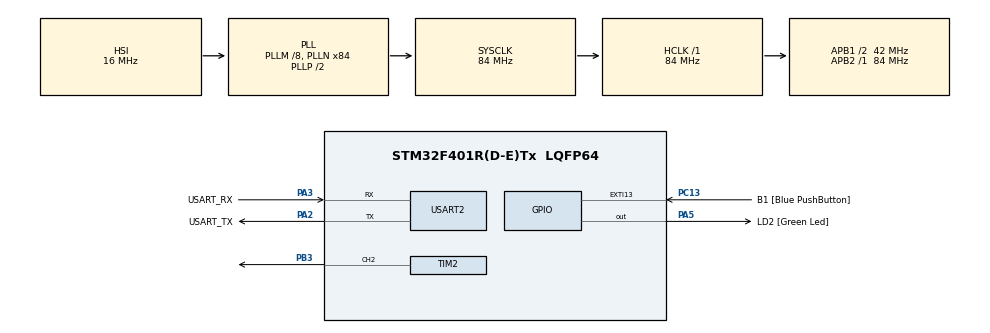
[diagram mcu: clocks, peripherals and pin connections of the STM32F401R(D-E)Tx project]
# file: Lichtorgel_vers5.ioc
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Dma.Request0=TIM2_CH2/CH4
Dma.TIM2_CH2/CH4.0.Direction=DMA_MEMORY_TO_PERIPH
Dma.TIM2_CH2/CH4.0.FIFOMode=DMA_FIFOMODE_DISABLE
Dma.TIM2_CH2/CH4.0.Instance=DMA1_Stream6
Dma.TIM2_CH2/CH4.0.MemDataAlignment=DMA_MDATAALIGN_WORD
Dma.TIM2_CH2/CH4.0.MemInc=DMA_MINC_ENABLE
Dma.TIM2_CH2/CH4.0.Mode=DMA_CIRCULAR
Dma.TIM2_CH2/CH4.0.PeriphDataAlignment=DMA_PDATAALIGN_WORD
Dma.TIM2_CH2/CH4.0.PeriphInc=DMA_PINC_DISABLE
Dma.TIM2_CH2/CH4.0.Priority=DMA_PRIORITY_LOW
Mcu.Family=STM32F4
Mcu.Name=STM32F401R(D-E)Tx
Mcu.Package=LQFP64
NVIC.DMA1_Stream6_IRQn=true\:0\:0\:false\:false\:true\:false\:true
NVIC.PriorityGroup=NVIC_PRIORITYGROUP_0
NVIC.TIM2_IRQn=true\:0\:0\:false\:false\:true\:true\:true
PA13.GPIO_Label=TMS
PA13.Mode=Serial_Wire
PA13.Signal=SYS_JTMS-SWDIO
PA14.GPIO_Label=TCK
PA14.Mode=Serial_Wire
PA14.Signal=SYS_JTCK-SWCLK
PA2.GPIO_Label=USART_TX
PA2.GPIO_Mode=GPIO_MODE_AF_PP
PA2.GPIO_PuPd=GPIO_NOPULL
PA2.GPIO_Speed=GPIO_SPEED_FREQ_LOW
PA2.Mode=Asynchronous
PA2.Signal=USART2_TX
PA3.GPIO_Label=USART_RX
PA3.GPIO_Mode=GPIO_MODE_AF_PP
PA3.GPIO_PuPd=GPIO_NOPULL
PA3.GPIO_Speed=GPIO_SPEED_FREQ_LOW
PA3.Mode=Asynchronous
PA3.Signal=USART2_RX
PA5.GPIO_Label=LD2 [Green Led]
PA5.GPIO_Mode=GPIO_MODE_OUTPUT_PP
PA5.GPIO_PuPd=GPIO_NOPULL
PA5.GPIO_Speed=GPIO_SPEED_FREQ_LOW
PA5.Signal=GPIO_Output
PB3.Signal=S_TIM2_CH2
PC13-ANTI_TAMP.GPIO_Label=B1 [Blue PushButton]
PC13-ANTI_TAMP.GPIO_ModeDefaultEXTI=GPIO_MODE_IT_FALLING
PC13-ANTI_TAMP.GPIO_PuPd=GPIO_NOPULL
PC13-ANTI_TAMP.Signal=GPXTI13
PC14-OSC32_IN.Mode=LSE-External-Oscillator
PC14-OSC32_IN.Signal=RCC_OSC32_IN
PC15-OSC32_OUT.Mode=LSE-External-Oscillator
PC15-OSC32_OUT.Signal=RCC_OSC32_OUT
PH0\ -\ OSC_IN.Mode=HSE-External-Clock-Source
PH0\ -\ OSC_IN.Signal=RCC_OSC_IN
PH1\ -\ OSC_OUT.Mode=HSE-External-Clock-Source
PH1\ -\ OSC_OUT.Signal=RCC_OSC_OUT
ProjectManager.HeapSize=0x200
ProjectManager.StackSize=0x400
ProjectManager.TargetToolchain=STM32CubeIDE
RCC.48MHZClocksFreq_Value=24000000
RCC.AHBFreq_Value=84000000
RCC.APB1CLKDivider=RCC_HCLK_DIV2
RCC.APB1Freq_Value=42000000
RCC.APB1TimFreq_Value=84000000
RCC.APB2Freq_Value=84000000
RCC.APB2TimFreq_Value=84000000
RCC.CortexFreq_Value=84000000
RCC.HCLKFreq_Value=84000000
RCC.HSE_VALUE=8000000
RCC.HSI_VALUE=16000000
RCC.PLLM=8
RCC.PLLN=84
RCC.PLLQ=7
RCC.SYSCLKFreq_VALUE=84000000
RCC.SYSCLKSource=RCC_SYSCLKSOURCE_PLLCLK
RCC.VCOOutputFreq_Value=168000000
SH.S_TIM2_CH2.0=TIM2_CH2,PWM Generation2 CH2
TIM2.AutoReloadPreload=TIM_AUTORELOAD_PRELOAD_ENABLE
TIM2.Channel-PWM\ Generation2\ CH2=TIM_CHANNEL_2
TIM2.OC2Preload_PWM=DISABLE
TIM2.Period=104
USART2.VirtualMode=VM_ASYNC
board=NUCLEO-F401RE

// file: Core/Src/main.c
/* USER CODE BEGIN Header */
/**
  ******************************************************************************
  * @file           : main.c
  * @brief          : Main program body
  ******************************************************************************
  * @attention
  *
  * <h2><center>&copy; Copyright (c) 2020 STMicroelectronics.
  * All rights reserved.</center></h2>
  *
  * This software component is licensed by ST under BSD 3-Clause license,
  * the "License"; You may not use this file except in compliance with the
  * License. You may obtain a copy of the License at:
  *                        opensource.org/licenses/BSD-3-Clause
  *
  ******************************************************************************
  */
/* USER CODE END Header */

#include "main.h"

/* USER CODE BEGIN Includes */
#include "string.h"

/* USER CODE END Includes */

TIM_HandleTypeDef htim2;
DMA_HandleTypeDef hdma_tim2_ch2_ch4;

UART_HandleTypeDef huart2;

void SystemClock_Config(void);
static void MX_GPIO_Init(void);
static void MX_DMA_Init(void);
static void MX_TIM2_Init(void);
static void MX_USART2_UART_Init(void);
/* USER CODE BEGIN PFP */
#define LED_CFG_USE_RGBW                0       /*!< Set to 1 to use RGBW leds.
                                                    Set to 0 to use WS2812B leds */

#define LED_CFG_LEDS_CNT                8       /*!< Number of leds in a strip row */

#if LED_CFG_USE_RGBW
#define LED_CFG_BYTES_PER_LED           4
#else /* LED_CFG_USE_RGBW */
#define LED_CFG_BYTES_PER_LED           3
#endif /* !LED_CFG_USE_RGBW */

#define LED_CFG_RAW_BYTES_PER_LED       (LED_CFG_BYTES_PER_LED * 8)

/* USER CODE END PFP */

/* USER CODE BEGIN 0 */

/*brief           Array of 4x (or 3x) number of leds (R, G, B[, W] colors)
 */
static uint8_t
leds_colors[LED_CFG_BYTES_PER_LED * LED_CFG_LEDS_CNT];

/**
 * \brief           Temporary array for dual LED with extracted PWM duty cycles
 *
 * We need LED_CFG_RAW_BYTES_PER_LED bytes for PWM setup to send all bits.
 * Before we can send data for first led, we have to send reset pulse, which must be 50us long.
 * PWM frequency is 800kHz, to achieve 50us, we need to send 40 pulses with 0 duty cycle = make array size MAX(2 * LED_CFG_RAW_BYTES_PER_LED, 40)
 */
static uint32_t tmp_led_data[2 * LED_CFG_RAW_BYTES_PER_LED];

static uint8_t          is_reset_pulse;     /*!< Status if we are sending reset pulse or led data */
static volatile uint8_t is_updating;        /*!< Is updating in progress? */
static uint32_t         current_led;        /*!< Current LED number we are sending */

uint8_t     led_update(uint8_t block);

#if LED_CFG_USE_RGBW
uint8_t     led_set_color(size_t index, uint8_t r, uint8_t g, uint8_t b, uint8_t w);
uint8_t     led_set_color_all(uint8_t r, uint8_t g, uint8_t b, uint8_t w);
uint8_t     led_set_color_rgbw(size_t index, uint32_t rgbw);
uint8_t     led_set_color_all_rgbw(uint32_t rgbw);
#else /* LED_CFG_USE_RGB */
uint8_t     led_set_color(size_t index, uint8_t r, uint8_t g, uint8_t b);
uint8_t     led_set_color_all(uint8_t r, uint8_t g, uint8_t b);
uint8_t     led_set_color_rgb(size_t index, uint32_t rgb);
uint8_t     led_set_color_all_rgb(uint32_t rgb);
#endif /* !LED_CFG_USE_RGBW */

uint8_t     led_is_update_finished(void);
uint8_t     led_start_reset_pulse(uint8_t num);
/* USER CODE END 0 */

int main(void)
{
  /* USER CODE BEGIN 1 */
	size_t i;
	volatile uint32_t timeout;
  /* USER CODE END 1 */

  /* MCU Configuration--------------------------------------------------------*/

  /* Reset of all peripherals, Initializes the Flash interface and the Systick. */
  HAL_Init();

  /* Configure the system clock */
  SystemClock_Config();

  /* Initialize all configured peripherals */
  MX_GPIO_Init();
  MX_DMA_Init();
  MX_TIM2_Init();
  MX_USART2_UART_Init();
  /* USER CODE BEGIN 2 */

  led_init();
  led_set_color_all(0x01, 0x00, 0x00, 0x00);
  led_update(1);

  /* USER CODE END 2 */

  /* Infinite loop */
  /* USER CODE BEGIN WHILE */
  while (1)
  {
	  for (i = 0; i < LED_CFG_LEDS_CNT; i++) {
		  led_set_color((i + 0) % LED_CFG_LEDS_CNT, 0x1F, 0, 0);
		  led_set_color((i + 1) % LED_CFG_LEDS_CNT, 0x1F, 0, 0);
	      led_set_color((i + 2) % LED_CFG_LEDS_CNT, 0, 0x1F, 0);
	      led_set_color((i + 3) % LED_CFG_LEDS_CNT, 0, 0x1F, 0);
	      led_set_color((i + 4) % LED_CFG_LEDS_CNT, 0, 0, 0x1F);
	      led_set_color((i + 5) % LED_CFG_LEDS_CNT, 0, 0, 0x1F);
	      led_set_color((i + 6) % LED_CFG_LEDS_CNT, 0, 0, 0);
	      led_set_color((i + 7) % LED_CFG_LEDS_CNT, 0, 0, 0);
	      led_update(1);
	      led_set_color_all(0, 0, 0, 0);

	      timeout = 0x7FFFF;
	      while (--timeout) {}
	  }

	//led_set_color_all(0, 0, 0, 0);  led_update(1);   timeout = 0x3FFFFF;  while (timeout--);
    /* USER CODE END WHILE */

  }
}

void SystemClock_Config(void)
{
  RCC_OscInitTypeDef RCC_OscInitStruct = {0};
  RCC_ClkInitTypeDef RCC_ClkInitStruct = {0};

  /** Configure the main internal regulator output voltage
  */
  __HAL_RCC_PWR_CLK_ENABLE();
  __HAL_PWR_VOLTAGESCALING_CONFIG(PWR_REGULATOR_VOLTAGE_SCALE2);
  /** Initializes the CPU, AHB and APB busses clocks
  */
  RCC_OscInitStruct.OscillatorType = RCC_OSCILLATORTYPE_HSI;
  RCC_OscInitStruct.HSIState = RCC_HSI_ON;
  RCC_OscInitStruct.HSICalibrationValue = RCC_HSICALIBRATION_DEFAULT;
  RCC_OscInitStruct.PLL.PLLState = RCC_PLL_ON;
  RCC_OscInitStruct.PLL.PLLSource = RCC_PLLSOURCE_HSI;
  RCC_OscInitStruct.PLL.PLLM = 8;
  RCC_OscInitStruct.PLL.PLLN = 84;
  RCC_OscInitStruct.PLL.PLLP = RCC_PLLP_DIV2;
  RCC_OscInitStruct.PLL.PLLQ = 7;
  if (HAL_RCC_OscConfig(&RCC_OscInitStruct) != HAL_OK)
  {
    Error_Handler();
  }
  /** Initializes the CPU, AHB and APB busses clocks
  */
  RCC_ClkInitStruct.ClockType = RCC_CLOCKTYPE_HCLK|RCC_CLOCKTYPE_SYSCLK
                              |RCC_CLOCKTYPE_PCLK1|RCC_CLOCKTYPE_PCLK2;
  RCC_ClkInitStruct.SYSCLKSource = RCC_SYSCLKSOURCE_PLLCLK;
  RCC_ClkInitStruct.AHBCLKDivider = RCC_SYSCLK_DIV1;
  RCC_ClkInitStruct.APB1CLKDivider = RCC_HCLK_DIV2;
  RCC_ClkInitStruct.APB2CLKDivider = RCC_HCLK_DIV1;

  if (HAL_RCC_ClockConfig(&RCC_ClkInitStruct, FLASH_LATENCY_2) != HAL_OK)
  {
    Error_Handler();
  }
}

static void MX_TIM2_Init(void)
{

  TIM_MasterConfigTypeDef sMasterConfig = {0};
  TIM_OC_InitTypeDef sConfigOC = {0};

  htim2.Instance = TIM2;
  htim2.Init.Prescaler = 0;
  htim2.Init.CounterMode = TIM_COUNTERMODE_UP;
  htim2.Init.Period = 104;
  htim2.Init.ClockDivision = TIM_CLOCKDIVISION_DIV1;
  htim2.Init.AutoReloadPreload = TIM_AUTORELOAD_PRELOAD_ENABLE;
  if (HAL_TIM_PWM_Init(&htim2) != HAL_OK)
  {
    Error_Handler();
  }
  sMasterConfig.MasterOutputTrigger = TIM_TRGO_RESET;
  sMasterConfig.MasterSlaveMode = TIM_MASTERSLAVEMODE_DISABLE;
  if (HAL_TIMEx_MasterConfigSynchronization(&htim2, &sMasterConfig) != HAL_OK)
  {
    Error_Handler();
  }
  sConfigOC.OCMode = TIM_OCMODE_PWM1;
  sConfigOC.Pulse = 0;
  sConfigOC.OCPolarity = TIM_OCPOLARITY_HIGH;
  sConfigOC.OCFastMode = TIM_OCFAST_DISABLE;
  if (HAL_TIM_PWM_ConfigChannel(&htim2, &sConfigOC, TIM_CHANNEL_2) != HAL_OK)
  {
    Error_Handler();
  }
  __HAL_TIM_DISABLE_OCxPRELOAD(&htim2, TIM_CHANNEL_2);
  HAL_TIM_MspPostInit(&htim2);

}

static void MX_USART2_UART_Init(void)
{

  huart2.Instance = USART2;
  huart2.Init.BaudRate = 115200;
  huart2.Init.WordLength = UART_WORDLENGTH_8B;
  huart2.Init.StopBits = UART_STOPBITS_1;
  huart2.Init.Parity = UART_PARITY_NONE;
  huart2.Init.Mode = UART_MODE_TX_RX;
  huart2.Init.HwFlowCtl = UART_HWCONTROL_NONE;
  huart2.Init.OverSampling = UART_OVERSAMPLING_16;
  if (HAL_UART_Init(&huart2) != HAL_OK)
  {
    Error_Handler();
  }

}

static void MX_DMA_Init(void)
{

  /* DMA controller clock enable */
  __HAL_RCC_DMA1_CLK_ENABLE();

  /* DMA interrupt init */
  /* DMA1_Stream6_IRQn interrupt configuration */
  HAL_NVIC_SetPriority(DMA1_Stream6_IRQn, 0, 0);
  HAL_NVIC_EnableIRQ(DMA1_Stream6_IRQn);

}

static void MX_GPIO_Init(void)
{
  GPIO_InitTypeDef GPIO_InitStruct = {0};

  /* GPIO Ports Clock Enable */
  __HAL_RCC_GPIOC_CLK_ENABLE();
  __HAL_RCC_GPIOH_CLK_ENABLE();
  __HAL_RCC_GPIOA_CLK_ENABLE();
  __HAL_RCC_GPIOB_CLK_ENABLE();

  /*Configure GPIO pin Output Level */
  HAL_GPIO_WritePin(LD2_GPIO_Port, LD2_Pin, GPIO_PIN_RESET);

  /*Configure GPIO pin : B1_Pin */
  GPIO_InitStruct.Pin = B1_Pin;
  GPIO_InitStruct.Mode = GPIO_MODE_IT_FALLING;
  GPIO_InitStruct.Pull = GPIO_NOPULL;
  HAL_GPIO_Init(B1_GPIO_Port, &GPIO_InitStruct);

  /*Configure GPIO pin : LD2_Pin */
  GPIO_InitStruct.Pin = LD2_Pin;
  GPIO_InitStruct.Mode = GPIO_MODE_OUTPUT_PP;
  GPIO_InitStruct.Pull = GPIO_NOPULL;
  GPIO_InitStruct.Speed = GPIO_SPEED_FREQ_LOW;
  HAL_GPIO_Init(LD2_GPIO_Port, &GPIO_InitStruct);

}

void Error_Handler(void)
{
}

/************************ (C) COPYRIGHT STMicroelectronics *****END OF FILE****/
